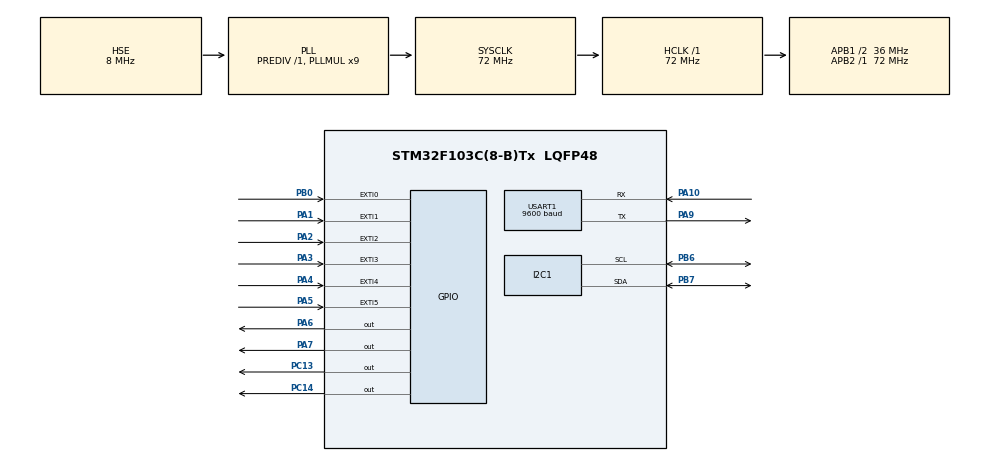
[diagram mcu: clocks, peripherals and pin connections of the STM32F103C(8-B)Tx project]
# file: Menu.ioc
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I2C1.I2C_Mode=I2C_Fast
Mcu.Family=STM32F1
Mcu.Name=STM32F103C(8-B)Tx
Mcu.Package=LQFP48
NVIC.EXTI0_IRQn=true\:3\:0\:true\:false\:true\:true\:true\:true
NVIC.EXTI1_IRQn=true\:3\:0\:true\:false\:true\:true\:true\:true
NVIC.EXTI2_IRQn=true\:0\:0\:true\:false\:true\:true\:true\:true
NVIC.EXTI3_IRQn=true\:2\:0\:true\:false\:true\:true\:true\:true
NVIC.EXTI4_IRQn=true\:2\:0\:true\:false\:true\:true\:true\:true
NVIC.EXTI9_5_IRQn=true\:2\:0\:true\:false\:true\:true\:true\:true
NVIC.PriorityGroup=NVIC_PRIORITYGROUP_4
NVIC.TIM1_CC_IRQn=true\:1\:0\:true\:false\:true\:true\:true\:true
NVIC.USART1_IRQn=true\:0\:0\:false\:false\:true\:true\:true\:true
PA1.GPIO_ModeDefaultEXTI=GPIO_MODE_IT_FALLING
PA1.GPIO_PuPd=GPIO_PULLUP
PA1.Signal=GPXTI1
PA10.Mode=Asynchronous
PA10.Signal=USART1_RX
PA13.Mode=Serial_Wire
PA13.Signal=SYS_JTMS-SWDIO
PA14.Mode=Serial_Wire
PA14.Signal=SYS_JTCK-SWCLK
PA2.GPIO_ModeDefaultEXTI=GPIO_MODE_IT_FALLING
PA2.GPIO_PuPd=GPIO_PULLUP
PA2.Signal=GPXTI2
PA3.GPIO_ModeDefaultEXTI=GPIO_MODE_IT_FALLING
PA3.GPIO_PuPd=GPIO_PULLUP
PA3.Signal=GPXTI3
PA4.GPIO_ModeDefaultEXTI=GPIO_MODE_IT_RISING
PA4.GPIO_PuPd=GPIO_PULLDOWN
PA4.Signal=GPXTI4
PA5.GPIO_ModeDefaultEXTI=GPIO_MODE_IT_RISING
PA5.GPIO_PuPd=GPIO_PULLDOWN
PA5.Signal=GPXTI5
PA6.GPIO_Speed=GPIO_SPEED_FREQ_HIGH
PA6.Signal=GPIO_Output
PA7.GPIO_Speed=GPIO_SPEED_FREQ_HIGH
PA7.Signal=GPIO_Output
PA9.Mode=Asynchronous
PA9.Signal=USART1_TX
PB0.GPIO_ModeDefaultEXTI=GPIO_MODE_IT_FALLING
PB0.GPIO_PuPd=GPIO_PULLUP
PB0.Signal=GPXTI0
PB6.Mode=I2C
PB6.Signal=I2C1_SCL
PB7.Mode=I2C
PB7.Signal=I2C1_SDA
PC13-TAMPER-RTC.GPIO_Speed=GPIO_SPEED_FREQ_HIGH
PC13-TAMPER-RTC.Signal=GPIO_Output
PC14-OSC32_IN.GPIO_Speed=GPIO_SPEED_FREQ_HIGH
PC14-OSC32_IN.Signal=GPIO_Output
PD0-OSC_IN.Mode=HSE-External-Oscillator
PD0-OSC_IN.Signal=RCC_OSC_IN
PD1-OSC_OUT.Mode=HSE-External-Oscillator
PD1-OSC_OUT.Signal=RCC_OSC_OUT
ProjectManager.HeapSize=0x200
ProjectManager.StackSize=0x400
ProjectManager.TargetToolchain=MDK-ARM V5
RCC.AHBFreq_Value=72000000
RCC.APB1CLKDivider=RCC_HCLK_DIV2
RCC.APB1Freq_Value=36000000
RCC.APB1TimFreq_Value=72000000
RCC.APB2Freq_Value=72000000
RCC.APB2TimFreq_Value=72000000
RCC.HCLKFreq_Value=72000000
RCC.PLLMUL=RCC_PLL_MUL9
RCC.PLLSourceVirtual=RCC_PLLSOURCE_HSE
RCC.SYSCLKFreq_VALUE=72000000
RCC.SYSCLKSource=RCC_SYSCLKSOURCE_PLLCLK
RCC.USBFreq_Value=72000000
TIM1.AutoReloadPreload=TIM_AUTORELOAD_PRELOAD_ENABLE
TIM1.Period=0xffff-1
TIM1.Prescaler=72-1
USART1.BaudRate=9600
USART1.VirtualMode=VM_ASYNC
VP_TIM1_VS_ClockSourceINT.Mode=Internal
board=custom

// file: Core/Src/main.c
/* USER CODE BEGIN Header */
/**
  ******************************************************************************
  * @file           : main.c
  * @brief          : Main program body
  ******************************************************************************
  * @attention
  *
  * Copyright (c) 2023 STMicroelectronics.
  * All rights reserved.
  *
  * This software is licensed under terms that can be found in the LICENSE file
  * in the root directory of this software component.
  * If no LICENSE file comes with this software, it is provided AS-IS.
  *
  ******************************************************************************
  */
/* USER CODE END Header */
#include "main.h"

/* USER CODE BEGIN Includes */
#include "math.h"
#include "ssd1306.h"
#include "fonts.h"
#include "mylan.h"
#include "modbus_crc.h"

#define FLASH_ADDR_PAGE_122 ((uint32_t)0x0800E810)
#define FLASH_ADDR_PAGE_123 ((uint32_t)0x0800EC10)
#define FLASH_ADDR_PAGE_124 ((uint32_t)0x0801F010)
#define FLASH_ADDR_PAGE_125 ((uint32_t)0x0801F410)
#define FLASH_ADDR_PAGE_126 ((uint32_t)0x0801F810)
#define FLASH_ADDR_PAGE_127 ((uint32_t)0x0801FC00)

#define FLASH_currentspeed_start_addr  FLASH_ADDR_PAGE_126
#define FLASH_currentspeed_end_addr  FLASH_ADDR_PAGE_127 + 0x400 - 0x01

#define FLASH_CW_start_addr FLASH_ADDR_PAGE_124
#define FLASH_CW_end_addr FLASH_ADDR_PAGE_125 + 0x400 - 0x01

#define FLASH_CCW_start_addr FLASH_ADDR_PAGE_122
#define FLASH_CCW_end_addr FLASH_ADDR_PAGE_123 + 0x400 - 0x01

/* USER CODE END Includes */

I2C_HandleTypeDef hi2c1;

TIM_HandleTypeDef htim1;

UART_HandleTypeDef huart1;

/* USER CODE BEGIN PV */
//uint32_t startpage = FLASH_currentspeed__start_addr;
//uint32_t dataread;

int defaultmenu_flag = 0;
int Main_menu_flag = 0;
int Freq_menu_flag = 0;
int COF_menu_flag = 0;

//Stepper flags
int CW_Stepper = 0;
int CCW_Stepper = 0;

int Freq_menu_chosen = 0; // 1: Frequency menu are chosing by the pointer
int COF_menu_chosen = 0;  // 1: COF measurament menu are chosing by the pointer

// button flags
int button_A;
int button_B;
int button_C;
int button_D;
int button_E;
int button_F;
int CW_limit = 0;
int CCW_limit = 0;

//Freq variable

int T_High = 300;
int T_Low = 300;

// speed variables
float current_speed;
int speed = 1000;
int N_currentspeed;
int R_currentspeed;

char V[10];
char R[10];

//Button debounce

uint32_t previousMillis = 0;
uint32_t currentMillis = 0;
uint32_t counterOutside = 0; //For testing only
uint32_t counterInside = 0; //For testing only

// COF Variable
uint8_t TxData[8];
uint8_t RxData[32];

uint16_t *Data;
int weight = 0;
char strWeight[10];

/* USER CODE END PV */

void SystemClock_Config(void);
static void MX_GPIO_Init(void);
static void MX_I2C1_Init(void);
static void MX_TIM1_Init(void);
static void MX_USART1_UART_Init(void);
/* USER CODE BEGIN PFP */

// a function to get microsecond
void delay_us (uint16_t us)
{
    __HAL_TIM_SET_COUNTER(&htim1,0);  // set the counter value a 0
    while (__HAL_TIM_GET_COUNTER(&htim1) < us);  // wait for the counter to reach the us input in the parameter
}

//Flag declaration for each type of menu
void resetbutton()
{
	button_A = 0;
	button_B = 0;
	button_C = 0;
	button_D = 0;
}
void Mainmenu()
{
	defaultmenu_flag = 0;
	Main_menu_flag = 1;
	Freq_menu_flag = 0;
	COF_menu_flag = 0;
}
void Freqmenu()
{
	defaultmenu_flag = 0;
	Main_menu_flag = 0;
	Freq_menu_flag = 1;
	COF_menu_flag = 0;
}
void COFmenu()
{
	defaultmenu_flag = 0;
	Main_menu_flag = 0;
	Freq_menu_flag = 0;
	COF_menu_flag = 1;
}
void defaultmenu()
{
	defaultmenu_flag = 1;
	Main_menu_flag = 0;
	Freq_menu_flag = 0;
	COF_menu_flag = 0;
}

//void default_F()
//{
//
//}
void speedmonitor(float T)
{
		N_currentspeed = T/10;
    R_currentspeed = fmod(T,10);

}
void calculatime(float speed)
{
	///////////////////////////////////////////////////////////////
	// each turn of vitme equal to 5mm on journey
	// 500 pulse, we have 1 round rotating
	// duty circle of each pulse = T_High + T_Low (T_ high = 300)
	///////////////////////////////////////////////////////////////

	double t = (5/((speed)/(60*pow(10,6)))); //microsecond
	T_Low = (t/4000)/2 ;

}

////////////////////////////////////////////////////////////////////////
///
///				EEPROM - FLASH save voletive variable
///
///
///
///////////////////////////////////////////////////////////////////////
void FLASH_WritePage(uint32_t startPage,uint32_t endPage, uint32_t data32)
{
	HAL_FLASH_Unlock();
	FLASH_EraseInitTypeDef EraseInit;
	EraseInit.TypeErase = FLASH_TYPEERASE_PAGES;
	EraseInit.PageAddress = startPage;
//	EraseInit.NbPages = 1;
	EraseInit.NbPages = (endPage - startPage + 0x01)/(FLASH_PAGE_SIZE);
	uint32_t PageError = 0;
	HAL_FLASHEx_Erase(&EraseInit,&PageError);
	HAL_FLASH_Program(FLASH_TYPEPROGRAM_WORD, startPage, data32);
	HAL_FLASH_Lock();
}

// Read addr and return addr's value to data variable
uint32_t FLASH_ReadData32(uint32_t addr)
{
	uint32_t data = *(__IO uint32_t *)(addr);
	return data;
}

void test_1round()
{
	for (int i = 0; i<4000 ;i++)
	{
		HAL_GPIO_WritePin(GPIOA,GPIO_PIN_6,GPIO_PIN_SET);
		delay_us(T_Low);
		HAL_GPIO_WritePin(GPIOA,GPIO_PIN_6,GPIO_PIN_RESET);
		delay_us(T_Low);
	}

}
//void VtoT(int speed)
//{
//
//}

void menuHMI_selection(uint16_t speed_adjustment, uint16_t COF)
{
	SSD1306_Clear();
	SSD1306_GotoXY(14,0);
	SSD1306_Puts("COATING - COF",&Font_7x10,0x01);
	SSD1306_GotoXY(0,9);
	SSD1306_Puts("--------------------",&Font_7x10,0x01);
	SSD1306_GotoXY(0,20);
	SSD1306_Puts("Speed adjustment",&Font_7x10,speed_adjustment);
	SSD1306_GotoXY(0,32);
	SSD1306_Puts("COF Measuarament",&Font_7x10,COF);

//instruction	text
	SSD1306_GotoXY(0,52);
	SSD1306_Puts("a",&Font_7x10,0x00);
	SSD1306_GotoXY(7,52);
	SSD1306_Puts(":Up",&Font_7x10,0x01);

	SSD1306_GotoXY(32,52);
	SSD1306_Puts("b",&Font_7x10,0x00);
	SSD1306_GotoXY(39,52);
	SSD1306_Puts(":DWN",&Font_7x10,0x01);

	SSD1306_GotoXY(69,52);
	SSD1306_Puts("c",&Font_7x10,0x00);
	SSD1306_GotoXY(76,52);
	SSD1306_Puts(":<",&Font_7x10,0x01);

	SSD1306_GotoXY(92,52);
	SSD1306_Puts("d",&Font_7x10,0x00);
	SSD1306_GotoXY(99,52);
	SSD1306_Puts(":Ent",&Font_7x10,0x01);

	SSD1306_UpdateScreen();
}
void COFHMI()
{
//	SSD1306_Clear();
	SSD1306_GotoXY(14,0);
	SSD1306_Puts("COF Measurament",&Font_7x10,0x01);
	SSD1306_GotoXY(0,11);
	SSD1306_Puts("--------------------",&Font_7x10,0x01);
	SSD1306_GotoXY(0,24);
	SSD1306_Puts("COF= ",&Font_11x18,0x01);
	sprintf (strWeight, "%d", weight);
	if(weight<10)
	{
		SSD1306_GotoXY(56,24);
		SSD1306_Puts("   ",&Font_11x18,0x01);
		SSD1306_GotoXY(89,24);
	}
	else if (weight>10 && weight<100)
	{
		SSD1306_GotoXY(56,24);
		SSD1306_Puts("  ",&Font_11x18,0x01);
		SSD1306_GotoXY(78,24);
	}
	else if (weight>100 && weight<1000)
	{
		SSD1306_GotoXY(56,24);
		SSD1306_Puts(" ",&Font_11x18,0x01);
		SSD1306_GotoXY(67,24);
	}
	SSD1306_Puts(strWeight ,&Font_11x18,0x01);
	SSD1306_GotoXY(80,24);
//	sprintf(F, "%d", Freq); //convert int to String type
//	SSD1306_Puts(F ,&Font_11x18,0x01);

	SSD1306_GotoXY(0,52);
	SSD1306_Puts("a",&Font_7x10,0x00);
	SSD1306_GotoXY(7,52);
	SSD1306_Puts(":Up",&Font_7x10,0x01);

	SSD1306_GotoXY(32,52);
	SSD1306_Puts("b",&Font_7x10,0x00);
	SSD1306_GotoXY(39,52);
	SSD1306_Puts(":DWN",&Font_7x10,0x01);

	SSD1306_GotoXY(69,52);
	SSD1306_Puts("c",&Font_7x10,0x00);
	SSD1306_GotoXY(76,52);
	SSD1306_Puts(":<",&Font_7x10,0x01);

	SSD1306_GotoXY(92,52);
	SSD1306_Puts("d",&Font_7x10,0x00);
	SSD1306_GotoXY(99,52);
	SSD1306_Puts(":Ent",&Font_7x10,0x01);

	SSD1306_UpdateScreen();
}
void SpeedHMI()
{
	SSD1306_Clear();
	SSD1306_GotoXY(14,0);
	SSD1306_Puts("SPEED ADJUSTMENT",&Font_7x10,0x01);
	SSD1306_GotoXY(0,11);
	SSD1306_Puts("--------------------",&Font_7x10,0x01);
	SSD1306_GotoXY(0,24);
	SSD1306_Puts("V=",&Font_11x18,0x01);

	speedmonitor(current_speed);
	SSD1306_GotoXY(23,24);
	sprintf(V, "%d", N_currentspeed ); //convert int to String type
	SSD1306_Puts(V ,&Font_11x18,0x01);
	SSD1306_GotoXY(46,24);
	SSD1306_Puts(".",&Font_11x18,0x01);
	SSD1306_GotoXY(57,24);
	sprintf(R, "%d", R_currentspeed ); //convert int to String type
	SSD1306_Puts(R ,&Font_11x18,0x01);

//	SSD1306_GotoXY(69,24);
//	SSD1306_Puts("m/min", &Font_11x18,0x01);

//	sprintf(F, "%d", speed[current_speed]); //convert int to String type
//	SSD1306_Puts(F ,&Font_11x18,0x01);

	//instruction	text
	SSD1306_GotoXY(0,52);
	SSD1306_Puts("a",&Font_7x10,0x00);
	SSD1306_GotoXY(7,52);
	SSD1306_Puts(":Up",&Font_7x10,0x01);

	SSD1306_GotoXY(32,52);
	SSD1306_Puts("b",&Font_7x10,0x00);
	SSD1306_GotoXY(39,52);
	SSD1306_Puts(":DWN",&Font_7x10,0x01);

	SSD1306_GotoXY(69,52);
	SSD1306_Puts("c",&Font_7x10,0x00);
	SSD1306_GotoXY(76,52);
	SSD1306_Puts(":<",&Font_7x10,0x01);

	SSD1306_GotoXY(92,52);
	SSD1306_Puts("d",&Font_7x10,0x00);
	SSD1306_GotoXY(99,52);
	SSD1306_Puts(":Ent",&Font_7x10,0x01);

	SSD1306_UpdateScreen();
}
void menuHMI()
{
	SSD1306_Clear();
	SSD1306_GotoXY(14,0);
	SSD1306_Puts("COATING - COF",&Font_7x10,0x01);
	SSD1306_GotoXY(0,9);
	SSD1306_Puts("--------------------",&Font_7x10,0x01);
	SSD1306_GotoXY(0,20);
	SSD1306_Puts("Speed adjustment",&Font_7x10,0x00);
	SSD1306_GotoXY(0,32);
	SSD1306_Puts("COF Measuarament",&Font_7x10,0x01);

//instruction	text
	SSD1306_GotoXY(0,52);
	SSD1306_Puts("a",&Font_7x10,0x00);
	SSD1306_GotoXY(7,52);
	SSD1306_Puts(":Up",&Font_7x10,0x01);

	SSD1306_GotoXY(32,52);
	SSD1306_Puts("b",&Font_7x10,0x00);
	SSD1306_GotoXY(39,52);
	SSD1306_Puts(":DWN",&Font_7x10,0x01);

	SSD1306_GotoXY(69,52);
	SSD1306_Puts("c",&Font_7x10,0x00);
	SSD1306_GotoXY(76,52);
	SSD1306_Puts(":<",&Font_7x10,0x01);

	SSD1306_GotoXY(92,52);
	SSD1306_Puts("d",&Font_7x10,0x00);
	SSD1306_GotoXY(99,52);
	SSD1306_Puts(":Ent",&Font_7x10,0x01);

	SSD1306_UpdateScreen();
}

void defaultHMI()
{
	SSD1306_Clear();
	SSD1306_GotoXY(14,0);
	SSD1306_Puts("COATING - COF",&Font_7x10,0x01);
	SSD1306_GotoXY(0,9);
	SSD1306_Puts("--------------------",&Font_7x10,0x01);
	SSD1306_GotoXY(0,21);
	SSD1306_Puts("Click A: Run FWD",&Font_7x10,0x01);
	SSD1306_GotoXY(0,31);
	SSD1306_Puts("Click B: Run BWD",&Font_7x10,0x01);
	SSD1306_GotoXY(0,41);
	SSD1306_Puts("Click C: Stop",&Font_7x10,0x01);
	SSD1306_GotoXY(0,51);
	SSD1306_Puts("Click D: Open Menu",&Font_7x10,0x01);
	SSD1306_UpdateScreen();
}
void HAL_GPIO_EXTI_Callback(uint16_t GPIO_Pin)
{
  UNUSED(GPIO_Pin);
	currentMillis = HAL_GetTick();
  if (GPIO_Pin == GPIO_PIN_0 && (currentMillis - previousMillis > 100)) // FWD
	{
		button_A = 1;
		button_B = 0;
		button_C = 0;
		button_D = 0;
		button_F = 0;
//		CCW_limit = 0;
		CW_Stepper = 1;
		CCW_Stepper = 0;
		FLASH_WritePage(FLASH_CCW_start_addr,FLASH_CCW_end_addr,button_F);
		FLASH_WritePage(FLASH_CW_start_addr,FLASH_CW_end_addr,button_E);

		previousMillis = currentMillis;
	}
	else if (GPIO_Pin == GPIO_PIN_1 && (currentMillis - previousMillis > 100)) // BWD
	{
		button_A = 0;
		button_B = 1;
		button_C = 0;
		button_D = 0;
		button_E = 0;
//		CW_limit = 0;
		CW_Stepper = 0;
		CCW_Stepper = 1;

		FLASH_WritePage(FLASH_CCW_start_addr,FLASH_CCW_end_addr,button_F);
		FLASH_WritePage(FLASH_CW_start_addr,FLASH_CW_end_addr,button_E);

		previousMillis = currentMillis;

	}
	else if (GPIO_Pin == GPIO_PIN_2 && (currentMillis - previousMillis > 100)) //Stop button
	{
		button_A = 0;
		button_B = 0;
		button_C = 1;
		button_D = 0;
		button_E = 0;
		button_F = 0;
//		CW_limit = 0;
		CW_Stepper = 0;
		CCW_Stepper = 0;
		FLASH_WritePage(FLASH_CW_start_addr,FLASH_CW_end_addr,button_E);
		FLASH_WritePage(FLASH_CCW_start_addr,FLASH_CCW_end_addr,button_F);
		previousMillis = currentMillis;
	}
	else if (GPIO_Pin == GPIO_PIN_3 && (currentMillis - previousMillis > 100)) // Menu
	{
		button_A = 0;
		button_B = 0;
		button_C = 0;
		button_D = 1;
		button_E = 0;
		button_F = 0;
		FLASH_WritePage(FLASH_CW_start_addr,FLASH_CW_end_addr,button_E);
		FLASH_WritePage(FLASH_CCW_start_addr,FLASH_CCW_end_addr,button_F);
		previousMillis = currentMillis;

	}
	else if (GPIO_Pin == GPIO_PIN_4 && (currentMillis - previousMillis > 100)) // Journey switch
	{
//		button_A = 0;
		button_B = 0;
		button_C = 0;
		button_D = 0;
		button_E = 1;
		button_F = 0;
		CW_Stepper = 0;
		CW_limit = 1;
		FLASH_WritePage(FLASH_CCW_start_addr,FLASH_CCW_end_addr,button_F);
		FLASH_WritePage(FLASH_CW_start_addr,FLASH_CW_end_addr,button_E);
		previousMillis = currentMillis;
	}
	else if (GPIO_Pin == GPIO_PIN_5 &&  (currentMillis - previousMillis > 100))// Journey switch 2
	{
		button_A = 0;
//		button_B = 0;
		button_C = 0;
		button_D = 0;
		button_E = 0;
		button_F = 1;
		CCW_Stepper = 0;
		CCW_limit = 1;
		FLASH_WritePage(FLASH_CW_start_addr,FLASH_CW_end_addr,button_E);
		FLASH_WritePage(FLASH_CCW_start_addr,FLASH_CCW_end_addr,button_F);
		previousMillis = currentMillis;
	}
//	else if (GPIO_Pin == GPIO_PIN_5 && GPIO_Pin == GPIO_PIN_4)
//	{
////		button_A = 0;
////		button_B = 0;
//		button_C = 0;
//		button_D = 0;
//		button_E = 1;
//		button_F = 1;
//		CW_Stepper = 0;
//		CCW_limit = 1;
//		CW_limit = 1;
//		previousMillis = currentMillis;
//	}
}

void Run_FWD()
{
	HAL_GPIO_WritePin(GPIOA,GPIO_PIN_6,GPIO_PIN_SET);
	delay_us(T_Low);
	HAL_GPIO_WritePin(GPIOA,GPIO_PIN_6,GPIO_PIN_RESET);
	delay_us(T_Low);
}
//void Run_BWD()
//{
//	HAL_GPIO_WritePin(GPIOA,GPIO_PIN_7,GPIO_PIN_SET);
//	delay_us(T_Low);
//	HAL_GPIO_WritePin(GPIOA,GPIO_PIN_7,GPIO_PIN_RESET);
//	delay_us(T_Low);
//}

/*------------------------------------------------------------------------
COF Measurament function
1. send hex via Rs485 to W100
2. Uart IT detect hex feedback from W100
3. Read date in the hex recieved

*/
void Run_SetHome()
{
	HAL_GPIO_WritePin(GPIOA,GPIO_PIN_6,GPIO_PIN_SET);
	delay_us(10);
	HAL_GPIO_WritePin(GPIOA,GPIO_PIN_6,GPIO_PIN_RESET);
	delay_us(10);
}
void HAL_UARTEx_RxEventCallback(UART_HandleTypeDef *huart, uint16_t Size)
{

  weight = RxData[3] << 8 | RxData [4];
//	Data[1] = RxData[5] << 8 | RxData [6];
//	Data[2] = RxData[7] << 8 | RxData [8];
//	Data[3] = RxData [0];
//	Data[4] = RxData[10]<< 8 | RxData [11];
}
void SendData()
{
		TxData[0] = 0x01; //Slave ad
		TxData[1] = 0x03; //function hex for read holding the register
		TxData[2] = 0x00;
		TxData[3] =	0x0A; // read 40011
		TxData[4] = 0x00;
		TxData[5] = 0x01; // the number of registers

		//Calculating CRC
		uint16_t crc = crc16(TxData, 6);
		TxData[6] = crc&0xFF;
		TxData[7] = (crc>>8)&0xFF;
		HAL_UART_Transmit(&huart1, TxData, 8, 1000);
}
void SetHome()
{
	HAL_GPIO_WritePin(GPIOA,GPIO_PIN_7, GPIO_PIN_SET);
	while (!CW_limit)
	{
		Run_SetHome();
	}
	HAL_GPIO_WritePin(GPIOA,GPIO_PIN_7, GPIO_PIN_RESET);
	for(int i = 0; i <96000;i++)
	{
		Run_SetHome();
	}

}

/*--------------------------------------------------------------------------------------------------------
Des: This void is to determine what exacly the pointer and Interrupt service routine have done on each strigger

author: Khang tran
Date: 8/2/23

----------------------------------------------------------------------------------------------------------
*/
void Menu_handler()
{
	if(Main_menu_flag)
	{
		menuHMI();
		Freq_menu_chosen = 1;
		COF_menu_chosen = 0;
		HAL_Delay(200);

		while(Main_menu_flag)
			if(button_A && COF_menu_chosen)
			{
				menuHMI_selection(0x00,0x01);				// COF ==> Freq
				Freq_menu_chosen = 1;
				COF_menu_chosen = 0;
				resetbutton();

			}
			else if(button_A && Freq_menu_chosen) // Keep Freq menu pointer
			{
				menuHMI_selection(0x00,0x01);
				Freq_menu_chosen = 1;
				COF_menu_chosen = 0;
				resetbutton();
			}
			else if(button_B && COF_menu_chosen)  // Keep COF menu pointer
			{
				menuHMI_selection(0x01,0x00);
				Freq_menu_chosen = 0;
				COF_menu_chosen = 1;
				resetbutton();
			}
			else if(button_B && Freq_menu_chosen)	// Freq ==> COF
			{
				menuHMI_selection(0x01,0x00);
				Freq_menu_chosen = 0;
				COF_menu_chosen = 1;
				resetbutton();
			}
			else if(button_D && Freq_menu_chosen)
			{
				Freqmenu();
				resetbutton();
			}
			else if(button_D && COF_menu_chosen)
			{
				COFmenu();
				resetbutton();
			}
			else if(button_C)
			{
				defaultmenu();
				resetbutton();
				if(CW_limit) 	// thoat ve man hinh default nhung van giu trang thai cong tac hanh trinh
				{
					button_E = 1;
					CW_limit = 0;
				}
				else if(CCW_limit)
				{
					button_F = 1;
					CCW_limit =0;
				}
				else
				{
					button_E = 0;
					button_F = 0;
					CW_limit = 0;
					CCW_limit = 0;
				}

			}

	}

// in this default menu, user are able to directly control the step motor VIA button A (CW) & button B (CCW) & button C to Stop
// Button D (menu) only be accessed in case of the stepper stopped ( CW flag and CCW flag == 0)

	if (defaultmenu_flag) // default menu access
	{
		defaultHMI();
		HAL_Delay(100);
		while(defaultmenu_flag)
		{
			if(button_D && CW_Stepper == 0  && CCW_Stepper == 0)
			{
				Mainmenu();
				resetbutton();
			}
			else if (button_A)
			{
//				CW_Stepper = 1;
//				CCW_Stepper = 0;
				CCW_limit = 0;
				button_A = 0;
				button_B = 0;
				button_C = 0;
				button_D = 0;
				button_F = 0;
				calculatime(speed);
				HAL_GPIO_WritePin(GPIOA,GPIO_PIN_7, GPIO_PIN_SET);
				while(CW_Stepper)
				{
					Run_FWD();
				}

			}
			else if (button_B)
			{
//				CW_Stepper = 0;
//				CCW_Stepper = 1;
				CW_limit = 0;
				button_A = 0;
				button_B = 0;
				button_C = 0;
				button_D = 0;
				button_E = 0;
				calculatime(speed);
				HAL_GPIO_WritePin(GPIOA,GPIO_PIN_7, GPIO_PIN_RESET);
				while(CCW_Stepper)
				{
					Run_FWD();
				}

			}
			else if (button_C)
			{
				CW_Stepper = 0;
				CCW_Stepper = 0;
				resetbutton();
				button_E = 0;
				button_F = 0;
				if(CW_limit) 	// thoat ve man hinh default nhung van giu trang thai cong tac hanh trinh
				{
					button_E = 1;
					CW_limit = 0;
					FLASH_WritePage(FLASH_CW_start_addr,FLASH_CW_end_addr,button_E);
				}
				else if(CCW_limit)
				{
					button_F = 1;
					CCW_limit = 0;
					FLASH_WritePage(FLASH_CCW_start_addr,FLASH_CCW_end_addr,button_F);
				}
				else
				{
					button_E = 0;
					button_F = 0;
					CW_limit = 0;
					CCW_limit = 0;
					FLASH_WritePage(FLASH_CW_start_addr,FLASH_CW_end_addr,button_E);
					FLASH_WritePage(FLASH_CCW_start_addr,FLASH_CCW_end_addr,button_F);
				}
			}
			else if (button_E)
			{
				CW_limit = 1;
//				button_A = 0;
				button_B = 0;
				button_C = 0;
				button_D = 0;
				button_F = 0;
				while (button_E)
				{
					CW_Stepper = 0;
					delay_us(50);
				}
			}
			else if (button_F)
			{
				CCW_limit = 1;
				button_A = 0;
//				button_B = 0;
				button_C = 0;
				button_D = 0;
				button_E = 0;
				while (button_F)
				{
					CCW_Stepper = 0;
					delay_us(50);
				}
			}
		}
	}

	if (Freq_menu_flag) // Speed adjustment menu access
	{
		SpeedHMI();
		HAL_Delay(100);
		while(Freq_menu_flag)
		{
			if(button_C)
			{
				Mainmenu();
				resetbutton();
			}
			if(button_A)
			{
				if(speed < 4000)
				{
					speed += 100;
					current_speed = speed / 100;
					speedmonitor(current_speed);
					FLASH_WritePage(FLASH_currentspeed_start_addr, FLASH_currentspeed_end_addr, speed);
					SpeedHMI();
					resetbutton();
				}
				else
				{
					speed = speed;
					current_speed = speed / 100;
					speedmonitor(current_speed);
					FLASH_WritePage(FLASH_currentspeed_start_addr, FLASH_currentspeed_end_addr, speed);
					SpeedHMI();
					resetbutton();
				}
			}
			else if(button_B)
			{
				if(speed > 200)
				{
					speed -= 100;
					current_speed = speed / 100;
					speedmonitor(current_speed);
					FLASH_WritePage(FLASH_currentspeed_start_addr, FLASH_currentspeed_end_addr, speed);
					SpeedHMI();
					resetbutton();
				}
				else
				{
					speed = speed;
					current_speed = speed / 100;
					speedmonitor(current_speed);
					FLASH_WritePage(FLASH_currentspeed_start_addr, FLASH_currentspeed_end_addr, speed);
					SpeedHMI();
					resetbutton();
				}
			}
			else if(button_D)
			{
				Mainmenu();
				resetbutton();
			}
		}
	}
 	if(COF_menu_flag) // COF monitor menu access
	{
		SSD1306_Clear();

		COFHMI();
		HAL_Delay(100);
		while(COF_menu_flag)
		{
			if(button_A)
			{
				COFHMI();
				while(button_A)
				{
					HAL_UARTEx_ReceiveToIdle_IT(&huart1, RxData, 32);
					SendData();
					HAL_Delay(200);
					COFHMI();
				}
			}
			if(button_B)
			{
				HAL_GPIO_WritePin(GPIOA,GPIO_PIN_7, GPIO_PIN_SET);
				SetHome();
			}
			if(button_C)
			{
				Mainmenu();
				resetbutton();
			}
		}
	}
}

/* USER CODE END PFP */

int main(void)
{

  /* MCU Configuration--------------------------------------------------------*/

  /* Reset of all peripherals, Initializes the Flash interface and the Systick. */
  HAL_Init();

  /* Configure the system clock */
  SystemClock_Config();

  /* Initialize all configured peripherals */
  MX_GPIO_Init();
  MX_I2C1_Init();
  MX_TIM1_Init();
  MX_USART1_UART_Init();
  /* USER CODE BEGIN 2 */
	HAL_UARTEx_ReceiveToIdle_IT(&huart1, RxData, 32);
	HAL_TIM_Base_Start(&htim1);

//	FLASH_WritePage(FLASH_currentspeed__start_addr, FLASH_currentspeed_end_addr, 2000);
//	FLASH_WritePage(FLASH_currentspeed__start_addr,FLASH_currentspeed_end_addr,speed);
//
//		FLASH_WritePage(FLASH_CW_start_addr, FLASH_CW_end_addr, 0x00);
//	FLASH_WritePage(FLASH_currentspeed__start_addr,FLASH_CW_end_addr,speed);
//
//		FLASH_WritePage(FLASH_CCW_start_addr, FLASH_CCW_end_addr, 0x00);
//	FLASH_WritePage(FLASH_currentspeed__start_addr,FLASH_CCW_end_addr,speed);

//	test_1round();
	SSD1306_Init();
	SSD1306_Clear();
//	SSD1306_Fill(0x00);
//	SSD1306_UpdateScreen();
//	HAL_Delay(1000);
	SSD1306_DrawBitmap(34, 4, mylanlogo, 60, 32, 0x01);
	SSD1306_GotoXY(25,38);
	SSD1306_Puts("Formulating",&Font_7x10,0x01);
	SSD1306_GotoXY(8,52);
	SSD1306_Puts("A Greener World",&Font_7x10,0x01);
	SSD1306_UpdateScreen();

	button_E = FLASH_ReadData32(FLASH_CW_start_addr);
	HAL_Delay(1000);
	button_F = FLASH_ReadData32(FLASH_CCW_start_addr);
	HAL_Delay(1000);
	speed = FLASH_ReadData32(FLASH_currentspeed_start_addr);

	current_speed = speed / 100;

	speedmonitor(current_speed);
//	HAL_Delay(5000);

	menuHMI_selection(0x01, 0x00);
	defaultmenu();
  /* USER CODE END 2 */

  /* Infinite loop */
  while (1)
  {

    /* USER CODE BEGIN 3 */
		Menu_handler();
  }
  /* USER CODE END 3 */
}

void SystemClock_Config(void)
{
  RCC_OscInitTypeDef RCC_OscInitStruct = {0};
  RCC_ClkInitTypeDef RCC_ClkInitStruct = {0};

  /** Initializes the RCC Oscillators according to the specified parameters
  * in the RCC_OscInitTypeDef structure.
  */
  RCC_OscInitStruct.OscillatorType = RCC_OSCILLATORTYPE_HSE;
  RCC_OscInitStruct.HSEState = RCC_HSE_ON;
  RCC_OscInitStruct.HSEPredivValue = RCC_HSE_PREDIV_DIV1;
  RCC_OscInitStruct.HSIState = RCC_HSI_ON;
  RCC_OscInitStruct.PLL.PLLState = RCC_PLL_ON;
  RCC_OscInitStruct.PLL.PLLSource = RCC_PLLSOURCE_HSE;
  RCC_OscInitStruct.PLL.PLLMUL = RCC_PLL_MUL9;
  if (HAL_RCC_OscConfig(&RCC_OscInitStruct) != HAL_OK)
  {
    Error_Handler();
  }

  /** Initializes the CPU, AHB and APB buses clocks
  */
  RCC_ClkInitStruct.ClockType = RCC_CLOCKTYPE_HCLK|RCC_CLOCKTYPE_SYSCLK
                              |RCC_CLOCKTYPE_PCLK1|RCC_CLOCKTYPE_PCLK2;
  RCC_ClkInitStruct.SYSCLKSource = RCC_SYSCLKSOURCE_PLLCLK;
  RCC_ClkInitStruct.AHBCLKDivider = RCC_SYSCLK_DIV1;
  RCC_ClkInitStruct.APB1CLKDivider = RCC_HCLK_DIV2;
  RCC_ClkInitStruct.APB2CLKDivider = RCC_HCLK_DIV1;

  if (HAL_RCC_ClockConfig(&RCC_ClkInitStruct, FLASH_LATENCY_2) != HAL_OK)
  {
    Error_Handler();
  }
}

static void MX_I2C1_Init(void)
{

  hi2c1.Instance = I2C1;
  hi2c1.Init.ClockSpeed = 400000;
  hi2c1.Init.DutyCycle = I2C_DUTYCYCLE_2;
  hi2c1.Init.OwnAddress1 = 0;
  hi2c1.Init.AddressingMode = I2C_ADDRESSINGMODE_7BIT;
  hi2c1.Init.DualAddressMode = I2C_DUALADDRESS_DISABLE;
  hi2c1.Init.OwnAddress2 = 0;
  hi2c1.Init.GeneralCallMode = I2C_GENERALCALL_DISABLE;
  hi2c1.Init.NoStretchMode = I2C_NOSTRETCH_DISABLE;
  if (HAL_I2C_Init(&hi2c1) != HAL_OK)
  {
    Error_Handler();
  }

}

static void MX_TIM1_Init(void)
{

  TIM_ClockConfigTypeDef sClockSourceConfig = {0};
  TIM_MasterConfigTypeDef sMasterConfig = {0};

  htim1.Instance = TIM1;
  htim1.Init.Prescaler = 72-1;
  htim1.Init.CounterMode = TIM_COUNTERMODE_UP;
  htim1.Init.Period = 0xffff-1;
  htim1.Init.ClockDivision = TIM_CLOCKDIVISION_DIV1;
  htim1.Init.RepetitionCounter = 0;
  htim1.Init.AutoReloadPreload = TIM_AUTORELOAD_PRELOAD_ENABLE;
  if (HAL_TIM_Base_Init(&htim1) != HAL_OK)
  {
    Error_Handler();
  }
  sClockSourceConfig.ClockSource = TIM_CLOCKSOURCE_INTERNAL;
  if (HAL_TIM_ConfigClockSource(&htim1, &sClockSourceConfig) != HAL_OK)
  {
    Error_Handler();
  }
  sMasterConfig.MasterOutputTrigger = TIM_TRGO_RESET;
  sMasterConfig.MasterSlaveMode = TIM_MASTERSLAVEMODE_DISABLE;
  if (HAL_TIMEx_MasterConfigSynchronization(&htim1, &sMasterConfig) != HAL_OK)
  {
    Error_Handler();
  }

}

static void MX_USART1_UART_Init(void)
{

  huart1.Instance = USART1;
  huart1.Init.BaudRate = 9600;
  huart1.Init.WordLength = UART_WORDLENGTH_8B;
  huart1.Init.StopBits = UART_STOPBITS_1;
  huart1.Init.Parity = UART_PARITY_NONE;
  huart1.Init.Mode = UART_MODE_TX_RX;
  huart1.Init.HwFlowCtl = UART_HWCONTROL_NONE;
  huart1.Init.OverSampling = UART_OVERSAMPLING_16;
  if (HAL_UART_Init(&huart1) != HAL_OK)
  {
    Error_Handler();
  }

}

static void MX_GPIO_Init(void)
{
  GPIO_InitTypeDef GPIO_InitStruct = {0};

  /* GPIO Ports Clock Enable */
  __HAL_RCC_GPIOC_CLK_ENABLE();
  __HAL_RCC_GPIOD_CLK_ENABLE();
  __HAL_RCC_GPIOA_CLK_ENABLE();
  __HAL_RCC_GPIOB_CLK_ENABLE();

  /*Configure GPIO pin Output Level */
  HAL_GPIO_WritePin(GPIOC, GPIO_PIN_13|GPIO_PIN_14, GPIO_PIN_RESET);

  /*Configure GPIO pin Output Level */
  HAL_GPIO_WritePin(GPIOA, GPIO_PIN_6|GPIO_PIN_7, GPIO_PIN_RESET);

  /*Configure GPIO pins : PC13 PC14 */
  GPIO_InitStruct.Pin = GPIO_PIN_13|GPIO_PIN_14;
  GPIO_InitStruct.Mode = GPIO_MODE_OUTPUT_PP;
  GPIO_InitStruct.Pull = GPIO_NOPULL;
  GPIO_InitStruct.Speed = GPIO_SPEED_FREQ_HIGH;
  HAL_GPIO_Init(GPIOC, &GPIO_InitStruct);

  /*Configure GPIO pins : PA1 PA2 PA3 */
  GPIO_InitStruct.Pin = GPIO_PIN_1|GPIO_PIN_2|GPIO_PIN_3;
  GPIO_InitStruct.Mode = GPIO_MODE_IT_FALLING;
  GPIO_InitStruct.Pull = GPIO_PULLUP;
  HAL_GPIO_Init(GPIOA, &GPIO_InitStruct);

  /*Configure GPIO pins : PA4 PA5 */
  GPIO_InitStruct.Pin = GPIO_PIN_4|GPIO_PIN_5;
  GPIO_InitStruct.Mode = GPIO_MODE_IT_RISING;
  GPIO_InitStruct.Pull = GPIO_PULLDOWN;
  HAL_GPIO_Init(GPIOA, &GPIO_InitStruct);

  /*Configure GPIO pins : PA6 PA7 */
  GPIO_InitStruct.Pin = GPIO_PIN_6|GPIO_PIN_7;
  GPIO_InitStruct.Mode = GPIO_MODE_OUTPUT_PP;
  GPIO_InitStruct.Pull = GPIO_NOPULL;
  GPIO_InitStruct.Speed = GPIO_SPEED_FREQ_HIGH;
  HAL_GPIO_Init(GPIOA, &GPIO_InitStruct);

  /*Configure GPIO pin : PB0 */
  GPIO_InitStruct.Pin = GPIO_PIN_0;
  GPIO_InitStruct.Mode = GPIO_MODE_IT_FALLING;
  GPIO_InitStruct.Pull = GPIO_PULLUP;
  HAL_GPIO_Init(GPIOB, &GPIO_InitStruct);

  /* EXTI interrupt init*/
  HAL_NVIC_SetPriority(EXTI0_IRQn, 3, 0);
  HAL_NVIC_EnableIRQ(EXTI0_IRQn);

  HAL_NVIC_SetPriority(EXTI1_IRQn, 3, 0);
  HAL_NVIC_EnableIRQ(EXTI1_IRQn);

  HAL_NVIC_SetPriority(EXTI2_IRQn, 0, 0);
  HAL_NVIC_EnableIRQ(EXTI2_IRQn);

  HAL_NVIC_SetPriority(EXTI3_IRQn, 2, 0);
  HAL_NVIC_EnableIRQ(EXTI3_IRQn);

  HAL_NVIC_SetPriority(EXTI4_IRQn, 2, 0);
  HAL_NVIC_EnableIRQ(EXTI4_IRQn);

  HAL_NVIC_SetPriority(EXTI9_5_IRQn, 2, 0);
  HAL_NVIC_EnableIRQ(EXTI9_5_IRQn);

}

void Error_Handler(void)
{
  __disable_irq();
  while (1)
  {
  }
}
